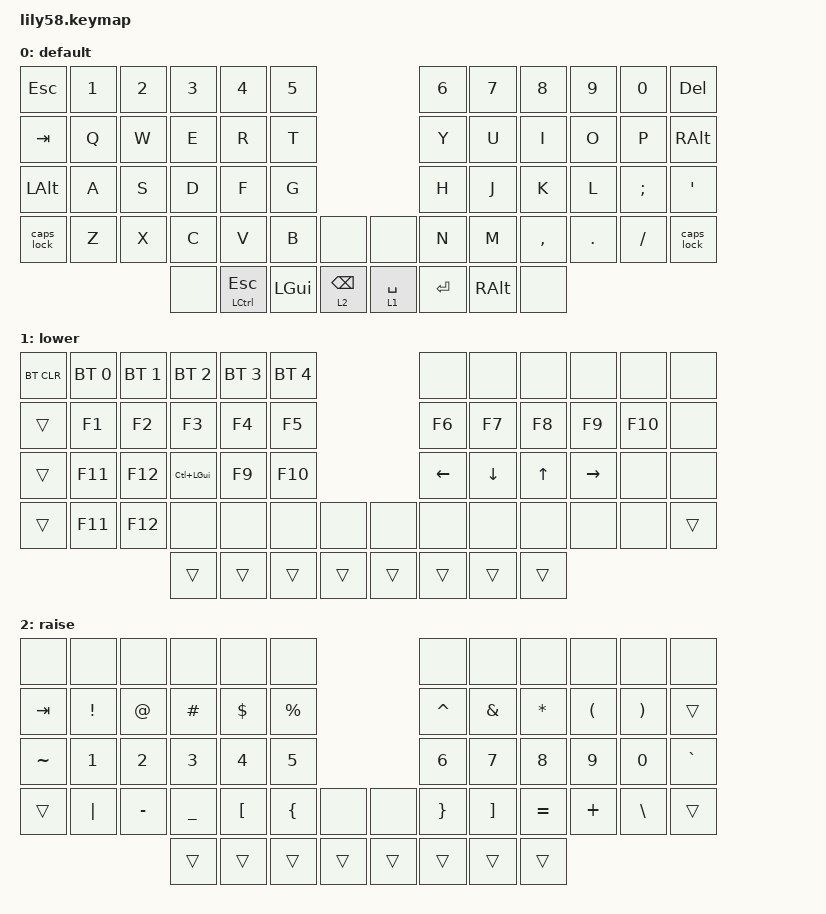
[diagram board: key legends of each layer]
/*
  * Copyright (c) 2020 The ZMK Contributors
  *
  * SPDX-License-Identifier: MIT
  */

#include <behaviors.dtsi>
#include <dt-bindings/zmk/bt.h>
#include <dt-bindings/zmk/keys.h>

/ {
    behaviors {
        caps_lock: caps_lock {
            compatible = "zmk,behavior-tap-dance";
            label = "CAPS_LOCK";
            #binding-cells = <0>;
            bindings = <&kp LEFT_SHIFT>, <&kp LEFT_SHIFT>, <&kp CAPSLOCK>;
        };
    };

    combos {
        compatible = "zmk,combos";

        jk_escape {
            bindings = <&kp ESCAPE>;
            key-positions = <31 32>;
        };
    };

    keymap {
        compatible = "zmk,keymap";

        default {
            bindings = <
&kp ESCAPE    &kp N1  &kp N2  &kp N3  &kp N4                &kp N5                                        &kp N6     &kp N7         &kp N8     &kp N9   &kp N0         &kp DELETE
&kp TAB       &kp Q   &kp W   &kp E   &kp R                 &kp T                                         &kp Y      &kp U          &kp I      &kp O    &kp P          &kp RIGHT_ALT
&kp LEFT_ALT  &kp A   &kp S   &kp D   &kp F                 &kp G                                         &kp H      &kp J          &kp K      &kp L    &kp SEMICOLON  &kp SINGLE_QUOTE
&caps_lock    &kp Z   &kp X   &kp C   &kp V                 &kp B         &none              &none        &kp N      &kp M          &kp COMMA  &kp DOT  &kp SLASH      &caps_lock
                              &none   &mt LEFT_CONTROL ESC  &kp LEFT_GUI  &lt 2 BACKSPACE    &lt 1 SPACE  &kp ENTER  &kp RIGHT_ALT  &none
            >;
        };

        lower {
            bindings = <
&bt BT_CLR  &bt BT_SEL 0  &bt BT_SEL 1  &bt BT_SEL 2      &bt BT_SEL 3  &bt BT_SEL 4                    &none           &none           &none         &none      &none    &none
&trans      &kp F1        &kp F2        &kp F3            &kp F4        &kp F5                          &kp F6          &kp F7          &kp F8        &kp F9     &kp F10  &none
&trans      &kp F11       &kp F12       &kp LC(LEFT_GUI)  &kp F9        &kp F10                         &kp LEFT_ARROW  &kp DOWN_ARROW  &kp UP_ARROW  &kp RIGHT  &none    &none
&trans      &kp F11       &kp F12       &none             &none         &none         &none     &none   &none           &none           &none         &none      &none    &trans
                                        &trans            &trans        &trans        &trans    &trans  &trans          &trans          &trans
            >;
        };

        raise {
            bindings = <
&none      &none            &none        &none           &none             &none                             &none            &none              &none         &none                 &none                  &none
&kp TAB    &kp EXCLAMATION  &kp AT_SIGN  &kp HASH        &kp DOLLAR        &kp PERCENT                       &kp CARET        &kp AMPERSAND      &kp ASTERISK  &kp LEFT_PARENTHESIS  &kp RIGHT_PARENTHESIS  &trans
&kp TILDE  &kp N1           &kp N2       &kp N3          &kp N4            &kp N5                            &kp NUMBER_6     &kp NUMBER_7       &kp NUMBER_8  &kp NUMBER_9          &kp NUMBER_0           &kp GRAVE
&trans     &kp PIPE         &kp MINUS    &kp UNDERSCORE  &kp LEFT_BRACKET  &kp LEFT_BRACE  &none     &none   &kp RIGHT_BRACE  &kp RIGHT_BRACKET  &kp EQUAL     &kp PLUS              &kp BACKSLASH          &trans
                                         &trans          &trans            &trans          &trans    &trans  &trans           &trans             &trans
            >;
        };
    };
};
